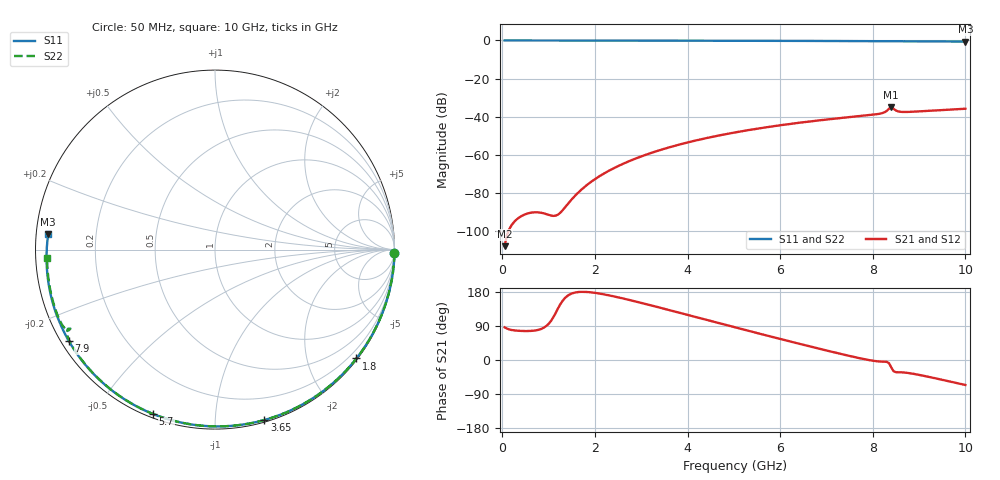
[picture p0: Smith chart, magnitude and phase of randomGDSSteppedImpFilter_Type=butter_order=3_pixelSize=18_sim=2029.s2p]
! freq	dB(S11)	phase(S11)	dB(S12)	phase(S12)
!  dB(S21)	phase(S21)	dB(S22)	phase(S22)
!S-par simulation data
#  GHz  S  DB  R 50
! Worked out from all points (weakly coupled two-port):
!   200 points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, 50 MHz to 10 GHz, reference 50 ohm
!   highest |S21| = -35.05 dB at 8.4 GHz (marker M1); lowest = -107.9 dB at 50 MHz (marker M2)
!   lowest |S11| = -0.6 dB at 10 GHz (marker M3), VSWR 28.93, Z = 1.73 + j2.35 ohm
!   |S11| at or under -10 dB: nowhere
!   |S22| runs from -0.7 to 0.0 dB; largest |S21 - S12| = 0
!   S11 on the Smith chart (normalised r, x): 50 MHz: open; 1.8 GHz: 0.03, -2.94; 3.65 GHz: 0.02, -1.33; 5.7 GHz: 0.02, -0.69; 7.9 GHz: 0.02, -0.29; 10 GHz: 0.03, +0.05
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0.05  -0.00 -1.1  -107.92 86.1  -107.92 86.1  -0.00 -1.0
0.8  -0.02 -16.9  -90.25 80.3  -90.25 80.3  -0.02 -16.6
1.6  -0.04 -33.5  -80.75 178.7  -80.75 178.7  -0.04 -32.9
1.65  -0.04 -34.5  -79.56 179.5  -79.56 179.5  -0.04 -33.9
1.75  -0.05 -36.6  -77.38 179.9  -77.38 179.9  -0.05 -35.9
1.8  -0.05 -37.6  -76.37 179.7  -76.37 179.7  -0.05 -36.9
2.1  -0.06 -43.7  -71.20 175.3  -71.20 175.3  -0.05 -42.9
2.5  -0.07 -51.6  -65.92 165.4  -65.92 165.4  -0.06 -50.7
2.9  -0.08 -59.5  -61.75 153.8  -61.75 153.8  -0.08 -58.4
3.4  -0.09 -69.1  -57.56 138.2  -57.56 138.2  -0.09 -67.7
3.65  -0.10 -73.8  -55.76 130.3  -55.76 130.3  -0.10 -72.3
4.35  -0.12 -86.7  -51.53 107.9  -51.53 107.9  -0.12 -84.9
5.05  -0.15 -99.2  -48.15 85.5  -48.15 85.5  -0.15 -97.1
5.7  -0.19 -110.6  -45.56 64.9  -45.56 64.9  -0.18 -108.0
6.7  -0.25 -127.6  -42.32 34.1  -42.32 34.1  -0.24 -124.4
7.9  -0.35 -148.0  -39.24 0.2  -39.24 0.2  -0.34 -143.7
8.2  -0.38 -153.1  -38.15 -4.3  -38.15 -4.3  -0.40 -148.9
8.35  -0.40 -155.6  -35.82 -8.3  -35.82 -8.3  -0.62 -151.7
8.4  -0.40 -156.5  -35.05 -19.6  -35.05 -19.6  -0.74 -151.3
8.5  -0.41 -158.2  -36.76 -32.2  -36.76 -32.2  -0.52 -151.9
8.65  -0.43 -160.9  -37.51 -32.7  -37.51 -32.7  -0.44 -154.7
10  -0.60 174.6  -35.82 -65.9  -35.82 -65.9  -0.57 -177.3
